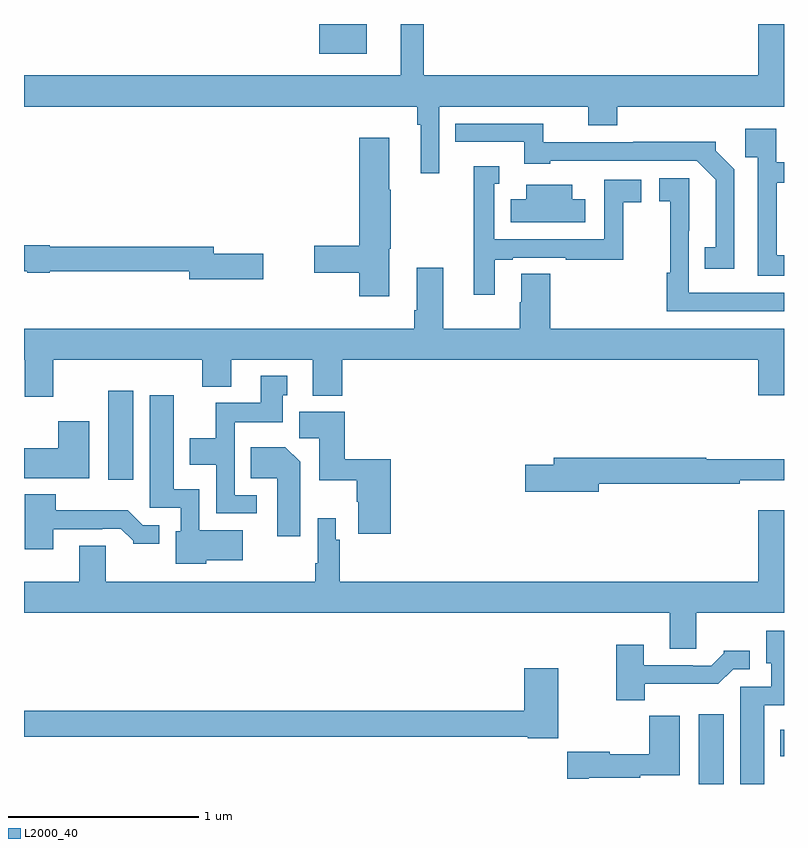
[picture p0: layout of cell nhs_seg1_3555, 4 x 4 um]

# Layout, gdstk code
import gdstk
lib = gdstk.Library(unit=1e-6, precision=1e-09)
def R(c, l, rs):  # rectangles x0, y0, x1, y1
    for r in rs: c.add(gdstk.rectangle(r[:2], r[2:], *l))
def P(c, l, *ps):  # polygons
    for p in ps: c.add(gdstk.Polygon(p, *l))
L2000_40 = (2000, 40)

nhs_seg1_3555 = lib.new_cell('nhs_seg1_3555')
R(nhs_seg1_3555, L2000_40, [(308.552,516.199,308.683,516.565), (308.981,516.344,309,516.484), (305.444,517.8,305.575,518.269), (306.554,520.043,306.805,520.199)])
P(nhs_seg1_3555, L2000_40, [(307.185,519.764),(307.97,519.764),(307.97,519.665),(308.123,519.665),(308.123,519.764),(309,519.764),(309,520.199),(308.864,520.199),(308.864,519.928),(307.105,519.928),(307.105,520.199),(306.983,520.199),(306.983,519.928),(305,519.928),(305,519.764),(307.069,519.764),(307.069,519.668),(307.088,519.668),(307.088,519.414),(307.185,519.414)],
  [(308.739,519.434),(308.64,519.533),(308.64,519.578),(308.206,519.578),(308.206,519.576),(307.734,519.576),(307.734,519.675),(307.27,519.675),(307.27,519.579),(307.634,519.579),(307.634,519.464),(307.77,519.464),(307.77,519.48),(308.541,519.48),(308.642,519.379),(308.642,519.023),(308.584,519.023),(308.584,518.91),(308.739,518.91)],
  [(309,518.983),(308.963,518.983),(308.963,519.363),(309,519.363),(309,519.471),(308.958,519.471),(308.958,519.649),(308.797,519.649),(308.797,519.497),(308.862,519.497),(308.862,518.874),(309,518.874)],
  [(306.922,519.015),(306.93,519.015),(306.93,519.326),(306.922,519.326),(306.922,519.601),(306.764,519.601),(306.764,519.032),(306.528,519.032),(306.528,518.89),(306.764,518.89),(306.764,518.766),(306.922,518.766)],
  [(307.477,518.958),(307.573,518.958),(307.573,518.97),(307.852,518.97),(307.852,518.958),(308.154,518.958),(308.154,519.262),(308.248,519.262),(308.248,519.378),(308.055,519.378),(308.055,519.066),(307.476,519.066),(307.476,519.357),(307.501,519.357),(307.501,519.451),(307.368,519.451),(307.368,519.019),(307.367,519.019),(307.367,518.775),(307.477,518.775)],
  [(309,518.784),(308.499,518.784),(308.499,519.112),(308.5,519.112),(308.5,519.388),(308.343,519.388),(308.343,519.267),(308.401,519.267),(308.401,518.891),(308.383,518.891),(308.383,518.688),(309,518.688)],
  [(307.954,519.277),(307.885,519.277),(307.885,519.352),(307.643,519.352),(307.643,519.277),(307.561,519.277),(307.561,519.155),(307.954,519.155)],
  [(306.259,518.99),(305.998,518.99),(305.998,519.026),(305.136,519.026),(305.136,519.034),(305,519.034),(305,518.897),(305.016,518.897),(305.016,518.89),(305.136,518.89),(305.136,518.898),(305.87,518.898),(305.87,518.855),(306.259,518.855)],
  [(305.155,518.432),(305.939,518.432),(305.939,518.291),(306.091,518.291),(306.091,518.432),(306.521,518.432),(306.521,518.243),(306.674,518.243),(306.674,518.432),(308.864,518.432),(308.864,518.244),(309,518.244),(309,518.596),(307.769,518.596),(307.769,518.885),(307.616,518.885),(307.616,518.735),(307.609,518.735),(307.609,518.596),(307.207,518.596),(307.207,518.917),(307.067,518.917),(307.067,518.692),(307.055,518.692),(307.055,518.596),(305,518.596),(305,518.432),(305.003,518.432),(305.003,518.238),(305.155,518.238)],
  [(306.226,517.719),(306.108,517.719),(306.108,518.102),(306.361,518.102),(306.361,518.244),(306.385,518.244),(306.385,518.347),(306.245,518.347),(306.245,518.206),(306.01,518.206),(306.01,518.02),(305.873,518.02),(305.873,517.88),(306.012,517.88),(306.012,517.623),(306.226,517.623)],
  [(305.958,517.376),(306.151,517.376),(306.151,517.534),(305.922,517.534),(305.922,517.75),(305.788,517.75),(305.788,518.245),(305.663,518.245),(305.663,517.653),(305.826,517.653),(305.826,517.53),(305.798,517.53),(305.798,517.358),(305.958,517.358)],
  [(306.929,517.909),(306.689,517.909),(306.689,518.158),(306.449,518.158),(306.449,518.02),(306.554,518.02),(306.554,517.799),(306.751,517.799),(306.751,517.684),(306.758,517.684),(306.758,517.515),(306.929,517.515)],
  [(305.344,518.107),(305.18,518.107),(305.18,517.966),(305,517.966),(305,517.808),(305.344,517.808)],
  [(306.454,517.894),(306.376,517.972),(306.193,517.972),(306.193,517.808),(306.332,517.808),(306.332,517.503),(306.454,517.503)],
  [(308.026,517.78),(308.768,517.78),(308.768,517.799),(309,517.799),(309,517.909),(308.591,517.909),(308.591,517.916),(307.787,517.916),(307.787,517.88),(307.638,517.88),(307.638,517.738),(308.026,517.738)],
  [(305.155,517.539),(305.411,517.539),(305.411,517.542),(305.51,517.542),(305.574,517.478),(305.574,517.463),(305.713,517.463),(305.713,517.56),(305.625,517.56),(305.547,517.639),(305.168,517.639),(305.168,517.723),(305.003,517.723),(305.003,517.434),(305.155,517.434)],
  [(308.539,517.1),(309,517.1),(309,517.639),(308.864,517.639),(308.864,517.264),(306.662,517.264),(306.662,517.484),(306.642,517.484),(306.642,517.597),(306.546,517.597),(306.546,517.36),(306.534,517.36),(306.534,517.264),(305.431,517.264),(305.431,517.454),(305.291,517.454),(305.291,517.264),(305,517.264),(305,517.1),(308.399,517.1),(308.399,516.91),(308.539,516.91)],
  [(308.896,516.614),(309,516.614),(309,517.006),(308.906,517.006),(308.906,516.834),(308.934,516.834),(308.934,516.711),(308.771,516.711),(308.771,516.199),(308.896,516.199)],
  [(308.266,516.726),(308.655,516.726),(308.733,516.804),(308.821,516.804),(308.821,516.901),(308.682,516.901),(308.682,516.886),(308.618,516.822),(308.519,516.822),(308.519,516.825),(308.263,516.825),(308.263,516.931),(308.116,516.931),(308.116,516.641),(308.266,516.641)],
  [(307.812,516.808),(307.634,516.808),(307.634,516.584),(305,516.584),(305,516.448),(307.65,516.448),(307.65,516.44),(307.812,516.44)],
  [(307.972,516.233),(308.244,516.233),(308.244,516.245),(308.452,516.245),(308.452,516.559),(308.29,516.559),(308.29,516.355),(308.082,516.355),(308.082,516.368),(307.86,516.368),(307.86,516.226),(307.972,516.226)])

lib.write_gds('nhs_seg1_3555.gds')
